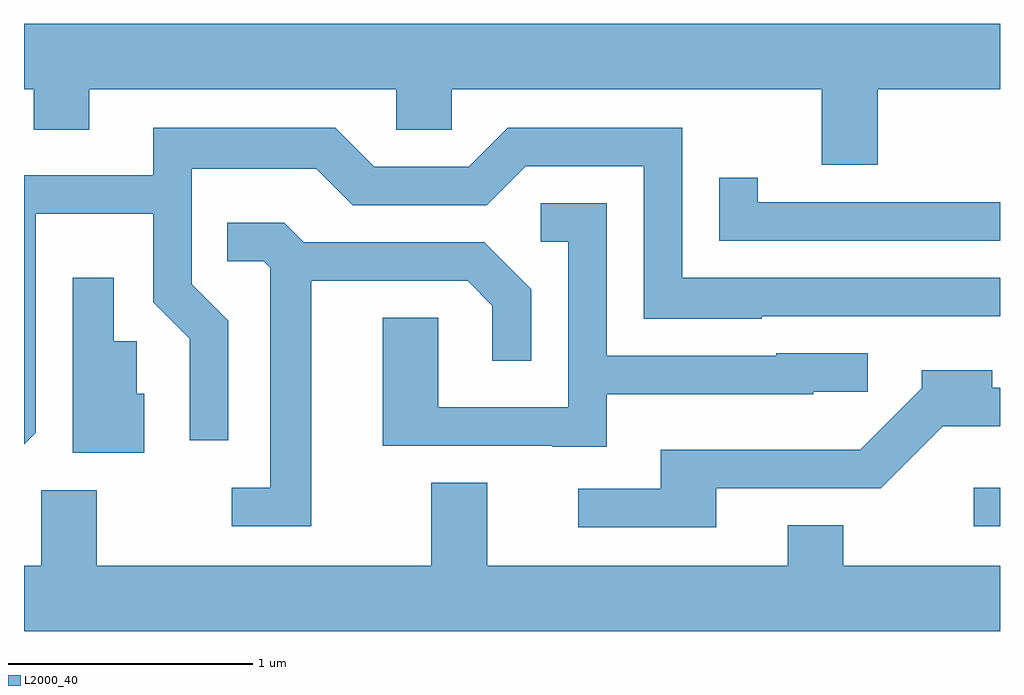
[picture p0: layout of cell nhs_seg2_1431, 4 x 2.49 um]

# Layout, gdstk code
import gdstk
lib = gdstk.Library(unit=1e-6, precision=1e-09)
def R(c, l, rs):  # rectangles x0, y0, x1, y1
    for r in rs: c.add(gdstk.rectangle(r[:2], r[2:], *l))
def P(c, l, *ps):  # polygons
    for p in ps: c.add(gdstk.Polygon(p, *l))
L2000_40 = (2000, 40)

nhs_seg2_1431 = lib.new_cell('nhs_seg2_1431')
R(nhs_seg2_1431, L2000_40, [(231.503,984.366,231.611,984.524)])
P(nhs_seg2_1431, L2000_40, [(231.109,986.156),(231.611,986.156),(231.611,986.424),(227.611,986.424),(227.611,986.156),(227.651,986.156),(227.651,985.991),(227.879,985.991),(227.879,986.156),(229.136,986.156),(229.136,985.991),(229.364,985.991),(229.364,986.156),(230.881,986.156),(230.881,985.846),(231.109,985.846)],
  [(227.659,984.749),(227.659,985.646),(228.141,985.646),(228.141,985.284),(228.291,985.134),(228.291,984.718),(228.449,984.718),(228.449,985.207),(228.299,985.357),(228.299,985.831),(228.809,985.831),(228.959,985.681),(229.507,985.681),(229.667,985.841),(230.151,985.841),(230.151,985.216),(230.635,985.216),(230.635,985.226),(231.611,985.226),(231.611,985.384),(230.309,985.384),(230.309,985.999),(229.594,985.999),(229.434,985.839),(229.047,985.839),(228.887,985.999),(228.141,985.999),(228.141,985.804),(227.611,985.804),(227.611,984.701)],
  [(231.611,985.694),(230.619,985.694),(230.619,985.793),(230.461,985.793),(230.461,985.536),(231.611,985.536)],
  [(229.999,984.906),(230.845,984.906),(230.845,984.916),(231.068,984.916),(231.068,985.074),(230.695,985.074),(230.695,985.064),(229.999,985.064),(229.999,985.689),(229.728,985.689),(229.728,985.531),(229.841,985.531),(229.841,984.854),(229.309,984.854),(229.309,985.219),(229.081,985.219),(229.081,984.696),(229.775,984.696),(229.775,984.691),(229.999,984.691)],
  [(228.789,985.371),(229.429,985.371),(229.531,985.269),(229.531,985.043),(229.689,985.043),(229.689,985.337),(229.497,985.529),(228.757,985.529),(228.677,985.609),(228.443,985.609),(228.443,985.451),(228.594,985.451),(228.621,985.424),(228.621,984.524),(228.463,984.524),(228.463,984.366),(228.789,984.366)],
  [(228.104,984.909),(228.074,984.909),(228.074,985.124),(227.979,985.124),(227.979,985.383),(227.811,985.383),(227.811,984.666),(228.104,984.666)],
  [(230.449,984.521),(231.122,984.521),(231.377,984.776),(231.611,984.776),(231.611,984.934),(231.579,984.934),(231.579,985.004),(231.291,985.004),(231.291,984.932),(231.039,984.679),(230.221,984.679),(230.221,984.519),(229.883,984.519),(229.883,984.361),(230.449,984.361)],
  [(231.611,984.204),(230.969,984.204),(230.969,984.369),(230.741,984.369),(230.741,984.204),(229.509,984.204),(229.509,984.544),(229.281,984.544),(229.281,984.204),(227.909,984.204),(227.909,984.514),(227.681,984.514),(227.681,984.204),(227.611,984.204),(227.611,983.936),(231.611,983.936)])

lib.write_gds('nhs_seg2_1431.gds')
